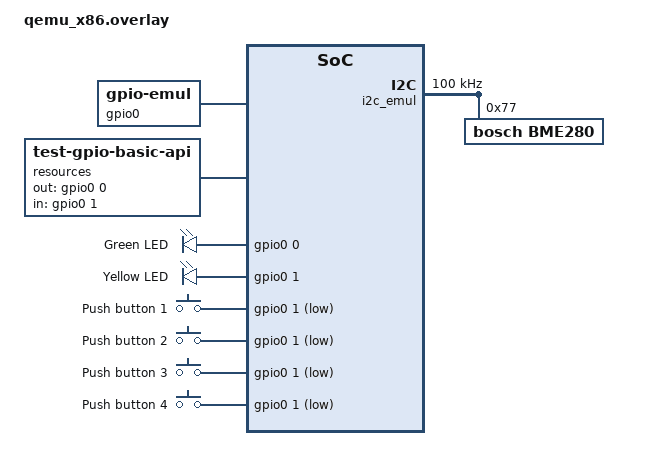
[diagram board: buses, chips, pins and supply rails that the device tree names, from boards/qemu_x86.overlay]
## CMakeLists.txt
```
# SPDX-License-Identifier: Apache-2.0

cmake_minimum_required(VERSION 3.20.0)
find_package(Zephyr REQUIRED HINTS $ENV{ZEPHYR_BASE})
project(zpp_rtos_test_thread)

FILE(GLOB app_sources src/*.cpp)
target_sources(app PRIVATE ${app_sources})
```

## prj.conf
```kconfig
CONFIG_ZTEST=y

# C++ support
CONFIG_CPP=y
CONFIG_REQUIRES_FULL_LIBCPP=y
CONFIG_STD_CPP20=y

# increase the stack size of the main thread
CONFIG_MAIN_STACK_SIZE=4096
# configure the stack size of the threads created with zpp_lib
CONFIG_ZPP_THREAD_STACK_SIZE=2048

# we use zpp_lib
CONFIG_USE_ZPP_LIB=y

# logging
CONFIG_LOG=y
CONFIG_ZPP_RTOS_LOG_LEVEL_DBG=y
CONFIG_ZPP_DRIVERS_LOG_LEVEL_DBG=y
CONFIG_APP_LOG_LEVEL_DBG=y

# HW
CONFIG_GPIO=y

# enable to use thread names
CONFIG_THREAD_NAME=y

# enable ASSERT
CONFIG_ASSERT=y

# disable debugging information
CONFIG_DEBUG_OPTIMIZATIONS=n

# compiler warnings must be treated as errors
CONFIG_COMPILER_WARNINGS_AS_ERRORS=y
```

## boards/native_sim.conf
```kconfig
# HW
CONFIG_GPIO=y
CONFIG_GPIO_EMUL=y

# configure sys clock
CONFIG_SYS_CLOCK_TICKS_PER_SEC=5000
```

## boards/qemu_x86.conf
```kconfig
# HW
CONFIG_GPIO=y
CONFIG_GPIO_EMUL=y

# configure sys clock
CONFIG_SYS_CLOCK_TICKS_PER_SEC=5000

# simulate button presses
CONFIG_INTERRUPT_IN_EMUL=y
```

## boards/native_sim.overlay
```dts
#include <zephyr/dt-bindings/gpio/gpio.h>

/ { 
	
  leds {
		compatible = "gpio-leds";
		led0: led_0 {
			gpios = <&gpio0 0 GPIO_ACTIVE_HIGH>;
			label = "Green LED";
		};
    led1: led_1 {
			gpios = <&gpio0 1 GPIO_ACTIVE_HIGH>;
			label = "Yellow LED";
		};
	};
	
	i2c_emul: i2c_emul@1000 {
        compatible = "zephyr,i2c-emul-controller";
        reg = <0x1000 1>;
        #address-cells = <1>;
        #size-cells = <0>;
        clock-frequency = <100000>;

        bme280_emul: bme280@77 {
            compatible = "bosch,bme280", "bosch,bme280-emul";
            reg = <0x77>;
            label = "BME280";
        };
    };
	
	buttons {
		compatible = "gpio-keys";

		button0: button_0 {
			gpios = <&gpio0 1 (GPIO_PULL_UP | GPIO_ACTIVE_LOW)>;
			label = "Push button 1";
		};

		button1: button_1 {
			gpios = <&gpio0 1 (GPIO_PULL_UP | GPIO_ACTIVE_LOW)>;
			label = "Push button 2";
		};

		button2: button_2 {
			gpios = <&gpio0 1 (GPIO_PULL_UP | GPIO_ACTIVE_LOW)>;
			label = "Push button 3";
		};

		button3: button_3 {
			gpios = <&gpio0 1 (GPIO_PULL_UP | GPIO_ACTIVE_LOW)>;
			label = "Push button 4";
		};
	};

  aliases {
    led0 = &led0;
		led1 = &led1;
		sw0 = &button0;
		sw1 = &button1;
		sw2 = &button2;
		sw3 = &button3;
	};

	chosen {
		zephyr,display = &dummy_dc;
	};

	dummy_dc: dummy_dc {
		compatible = "zephyr,dummy-dc";
		height = <240>;
		width = <320>;
	};
};

&gpio0 {
  status = "okay";
};
```

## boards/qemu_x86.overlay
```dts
#include <zephyr/dt-bindings/gpio/gpio.h>

/ {  
	gpio0: gpio_emul_0 {
		status = "okay";
		compatible = "zephyr,gpio-emul";
		rising-edge;
		falling-edge;
		high-level;
		low-level;
		gpio-controller;
		ngpios=<2>;
		#gpio-cells = <2>;
	};

    i2c_emul: i2c_emul@1000 {
        compatible = "zephyr,i2c-emul-controller";
        reg = <0x1000 1>;
        #address-cells = <1>;
        #size-cells = <0>;
        clock-frequency = <100000>;

        bme280_emul: bme280@77 {
            compatible = "bosch,bme280", "bosch,bme280-emul";
            reg = <0x77>;
            label = "BME280";
        };
    };

	resources {
		compatible = "test-gpio-basic-api";
		out-gpios = <&gpio0 0 0>; /* Pin 0 */
		in-gpios = <&gpio0 1 0>; /* Pin 1 */
	};

    leds {
		compatible = "gpio-leds";
		led0: led_0 {
			gpios = <&gpio0 0 GPIO_ACTIVE_HIGH>;
			label = "Green LED";
		};
        led1: led_1 {
			gpios = <&gpio0 1 GPIO_ACTIVE_HIGH>;
			label = "Yellow LED";
		};
	};

	buttons {
		compatible = "gpio-keys";

		button0: button_0 {
			gpios = <&gpio0 1 (GPIO_PULL_UP | GPIO_ACTIVE_LOW)>;
			label = "Push button 1";
		};

		button1: button_1 {
			gpios = <&gpio0 1 (GPIO_PULL_UP | GPIO_ACTIVE_LOW)>;
			label = "Push button 2";
		};

		button2: button_2 {
			gpios = <&gpio0 1 (GPIO_PULL_UP | GPIO_ACTIVE_LOW)>;
			label = "Push button 3";
		};

		button3: button_3 {
			gpios = <&gpio0 1 (GPIO_PULL_UP | GPIO_ACTIVE_LOW)>;
			label = "Push button 4";
		};
	};

    aliases {
        led0 = &led0;
		led1 = &led1;
		sw0 = &button0;
		sw1 = &button1;
		sw2 = &button2;
		sw3 = &button3;
	};

	chosen {
		zephyr,display = &dummy_dc;
        zephyr,i2c = &i2c_emul;
	};

	dummy_dc: dummy_dc {
		compatible = "zephyr,dummy-dc";
		height = <240>;
		width = <320>;
	};
};
```

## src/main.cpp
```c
// Copyright 2025 Haute école d'ingénierie et d'architecture de Fribourg
//
// Licensed under the Apache License, Version 2.0 (the "License");
// you may not use this file except in compliance with the License.
// You may obtain a copy of the License at
//
//     http://www.apache.org/licenses/LICENSE-2.0
//
// Unless required by applicable law or agreed to in writing, software
// distributed under the License is distributed on an "AS IS" BASIS,
// WITHOUT WARRANTIES OR CONDITIONS OF ANY KIND, either express or implied.
// See the License for the specific language governing permissions and
// limitations under the License.

/****************************************************************************
 * @file test_thread.cpp
 * @author Serge Ayer <serge.ayer@hefr.ch>
 *
 * @brief Test program for zpp_lib Thread class
 *
 * @date 2025-08-31
 * @version 1.0.0
 ***************************************************************************/

// zephyr

// std
#include <functional>

// zpp_rtos
#include "zpp_include/interrupt_in.hpp"
#include "zpp_include/this_thread.hpp"
#include "zpp_include/zpp_assert.hpp"
#include "zpp_include/zpp_log.hpp"
#include "zpp_include/zpp_test.hpp"

ZPP_LOG_MODULE_REGISTER(test_interrupt_in, CONFIG_APP_LOG_LEVEL);

void callback() {
  ZPP_LOG_DBG("Button1 pressed");
}
void callback1() {
  ZPP_LOG_DBG("Button1_1 pressed");
}
void callback2() {
  ZPP_LOG_DBG("Button1_2 pressed");
}

ZPP_ZTEST_USER(zpp_interrupt_in, test_destructor) {
  using std::literals::chrono_literals::operator""s;

  {
    zpp_lib::InterruptIn button1(zpp_lib::InterruptIn::PinName::BUTTON1);
    zpp_lib::RegistrationToken token = button1.add_callback(callback);

    printk("Press button 1! -> a message should print\n");

    // if the user presses the button in the next 10s, the callback message should print
    zpp_lib::ThisThread::sleep_for(10s);
  }

  // the InterruptIn instance is destroyed here
  // if the user presses the button in the next 10s, the callback message should not print
  // and the system should behave correctly
  printk("Press button 1! -> nothing should print\n");
  zpp_lib::ThisThread::sleep_for(10s);
}

ZPP_ZTEST_USER(zpp_interrupt_in, test_multiple_instances) {
  using std::literals::chrono_literals::operator""s;
  {
    zpp_lib::InterruptIn button1_1(zpp_lib::InterruptIn::PinName::BUTTON1);
    zpp_lib::RegistrationToken token1_1 = button1_1.add_callback(callback1);

    {
      zpp_lib::InterruptIn button1_2(zpp_lib::InterruptIn::PinName::BUTTON1);
      zpp_lib::RegistrationToken token1_2 = button1_2.add_callback(callback2);
      printk("Press button 1! -> two messages should print\n");

      // if the user presses the button in the next 10s, the callback message should print
      // twice
      zpp_lib::ThisThread::sleep_for(10s);
    }

    printk("Press button 1! -> one message should print\n");

    // if the user presses the button in the next 10s, the callback message should print
    zpp_lib::ThisThread::sleep_for(10s);
  }

  // the InterruptIn instance is destroyed here
  // if the user presses the button in the next 10s, the callback message should not print
  // and the system should behave correctly
  printk("Press button 1! -> nothing should print\n");
  zpp_lib::ThisThread::sleep_for(10s);
}

ZPP_ZTEST_SUITE(zpp_interrupt_in, nullptr, nullptr, nullptr, nullptr, nullptr);
```

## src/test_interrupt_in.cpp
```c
// Copyright 2025 Haute école d'ingénierie et d'architecture de Fribourg
//
// Licensed under the Apache License, Version 2.0 (the "License");
// you may not use this file except in compliance with the License.
// You may obtain a copy of the License at
//
//     http://www.apache.org/licenses/LICENSE-2.0
//
// Unless required by applicable law or agreed to in writing, software
// distributed under the License is distributed on an "AS IS" BASIS,
// WITHOUT WARRANTIES OR CONDITIONS OF ANY KIND, either express or implied.
// See the License for the specific language governing permissions and
// limitations under the License.

/****************************************************************************
 * @file test_thread.cpp
 * @author Serge Ayer <serge.ayer@hefr.ch>
 *
 * @brief Test program for zpp_lib Thread class
 *
 * @date 2025-08-31
 * @version 1.0.0
 ***************************************************************************/

// zephyr
#include <zephyr/logging/log.h>
#include <zephyr/ztest.h>

// std
#include <functional>

// zpp_rtos
#include "zpp_include/interrupt_in.hpp"
#include "zpp_include/this_thread.hpp"

LOG_MODULE_REGISTER(test_interrupt_in, CONFIG_APP_LOG_LEVEL);

void callback() {
  LOG_DBG("Button1 pressed");
}
void callback1() {
  LOG_DBG("Button1_1 pressed");
}
void callback2() {
  LOG_DBG("Button1_2 pressed");
}

ZTEST_USER(zpp_interrupt_in, test_destructor) {
  using std::literals::chrono_literals::operator""s;

  {
    zpp_lib::InterruptIn button1(zpp_lib::InterruptIn::PinName::BUTTON1);
    button1.fall(callback);

    printk("Press button 1! -> a message should print\n");

    // if the user presses the button in the next 10s, the callback message should print
    zpp_lib::ThisThread::sleep_for(10s);
  }

  // the InterruptIn instance is destroyed here
  // if the user presses the button in the next 10s, the callback message should not print
  // and the system should behave correctly
  printk("Press button 1! -> nothing should print\n");
  zpp_lib::ThisThread::sleep_for(10s);
}

ZTEST_USER(zpp_interrupt_in, test_multiple_instances) {
  using std::literals::chrono_literals::operator""s;
  {
    zpp_lib::InterruptIn button1_1(zpp_lib::InterruptIn::PinName::BUTTON1);
    button1_1.fall(callback1);

    {
      zpp_lib::InterruptIn button1_2(zpp_lib::InterruptIn::PinName::BUTTON1);
      button1_2.fall(callback2);
      printk("Press button 1! -> two messages should print\n");

      // if the user presses the button in the next 10s, the callback message should print
      // twice
      zpp_lib::ThisThread::sleep_for(10s);
    }

    printk("Press button 1! -> one message should print\n");

    // if the user presses the button in the next 10s, the callback message should print
    zpp_lib::ThisThread::sleep_for(10s);
  }

  // the InterruptIn instance is destroyed here
  // if the user presses the button in the next 10s, the callback message should not print
  // and the system should behave correctly
  printk("Press button 1! -> nothing should print\n");
  zpp_lib::ThisThread::sleep_for(10s);
}

ZTEST_SUITE(zpp_interrupt_in, nullptr, nullptr, nullptr, nullptr, nullptr);
```
